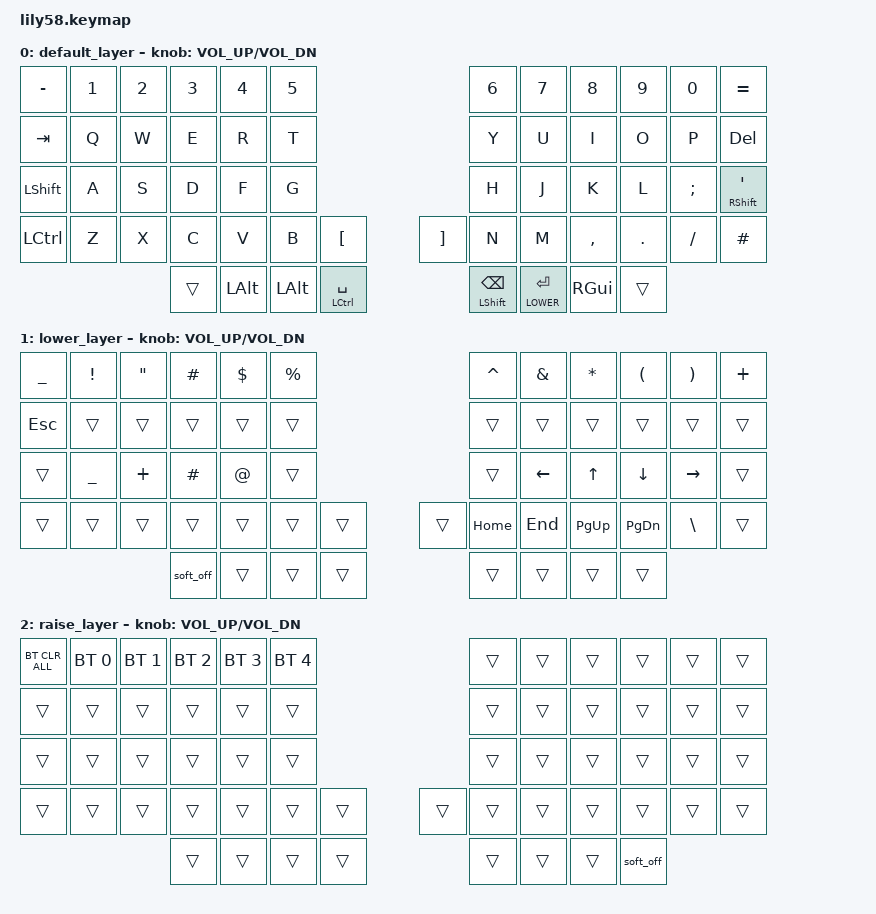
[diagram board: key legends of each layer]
/*
 * Copyright (c) 2020 The ZMK Contributors
 *
 * SPDX-License-Identifier: MIT
 */ 

#include <behaviors.dtsi>
#include <dt-bindings/zmk/keys.h>
#include <dt-bindings/zmk/bt.h>
#include <dt-bindings/zmk/ext_power.h>
#include <dt-bindings/zmk/mouse.h>

#define DEFAULT 0
#define LOWER   1
#define RAISE   2


&mt {
    tapping-term-ms = <180>;
    flavor = "tap-preferred";
    quick-tap-ms = <110>;
    global-quick-tap;
};

&lt {
    tapping-term-ms = <180>;
    flavor = "tap-preferred";
    quick-tap-ms = <110>;
};

&soft_off {
    hold-time-ms = <3000>; // Only turn off if the key is held for 3 seconds or longer.
};

/ {
    keymap {
        compatible = "zmk,keymap";

      default_layer {
// ------------------------------------------------------------------------------------------------------------
// |  -    |  1  |  2  |  3   |  4   |  5   |                             |  6   |  7    |  8    |  9   |   0   |   =   |
// |  TAB  |  Q  |  W  |  E   |  R   |  T   |                             |  Y   |  U    |  I    |  O   |   P   |   -   |
// | SHIFT |  A  |  S  |  D   |  F   |  G   |                             |  H   |  J    |  K    |  L   |   ;   |   ' / shift  |
// | CTRL  |  Z  |  X  |  C   |  V   |  B   |   "["  |            |  "]"  |  N   |  M    |  ,    |  .   |   /   | # |
//                     | TRANS| ALT  | ALT | LCTL/SPACE |  | BSPC/SHFT | LOWER/ENTER| GUI   | TRANS |
            bindings = <
&kp MINUS   &kp N1 &kp N2 &kp N3   &kp N4   &kp N5                                          &kp N6     &kp N7    &kp N8     &kp N9   &kp N0    &kp EQUAL
&kp TAB     &kp Q  &kp W  &kp E    &kp R    &kp T                                           &kp Y      &kp U     &kp I      &kp O    &kp P     &kp DEL
&kp LSHFT   &kp A  &kp S  &kp D    &kp F    &kp G                                           &kp H      &kp J     &kp K      &kp L    &kp SEMI  &mt RSHIFT SQT
&kp LCTL    &kp Z  &kp X  &kp C    &kp V    &kp B      &kp LBKT             &kp RBKT        &kp N      &kp M     &kp COMMA  &kp DOT  &kp FSLH  &kp HASH
                          &trans   &kp LALT &kp LALT   &mt LCTL SPACE       &mt LSHFT BSPC  &lt LOWER ENTER  &kp RGUI   &trans
            >;

            sensor-bindings = <&inc_dec_kp C_VOL_UP C_VOL_DN>;
        };

        lower_layer {
// ---------ALLLL WRONG LABELS---------------------------------------------------------------------------------------------------
// | BTCLR | BT1 | BT2 |  BT3 |  BT4 |  BT5 |                   |      |       |       |      |       |       |
// |       |   1 |  2  |   3  |   4  |   5  |                   |   6  |   7   |   8   |   9  |   0   |       |
// |       |  -  |  =  |  #   |      |      |                   |      | LEFT  | UP    | DOWN | RIGHT |       |
// |       |     |     |      |      |      |        |  |       | HOME | END   | PGUP  | PGDN |   \   |       |
//                     |      |      |      |        |  |       |      |       |       |
            bindings = <
&kp UNDER  &kp EXCL          &kp DQT           &kp POUND         &kp DLLR     &kp PRCNT                       &kp CARET      &kp AMPS        &kp STAR    &kp LPAR     &kp RPAR  &kp PLUS
&kp ESC    &trans            &trans            &trans            &trans       &trans                          &trans         &trans          &trans      &trans       &trans    &trans
&trans     &kp UNDER         &kp PLUS          &kp HASH          &kp AT       &trans                          &trans         &kp LEFT        &kp UP      &kp DOWN     &kp RIGHT &trans
&trans     &trans            &trans            &trans            &trans       &trans    &trans     &trans     &kp HOME       &kp END         &kp PG_UP   &kp PG_DN    &kp BSLH  &trans 
                                               &soft_off            &trans       &trans    &trans     &trans     &trans         &trans          &trans
            >;

            sensor-bindings = <&inc_dec_kp C_VOL_UP C_VOL_DN>;
        };

        raise_layer {
// -----------all totally wrong labels here, fwiw-------------------------------------------------------------------------------------------------
// |       |     |     |      |      |     |                   |      |       |       |      |       |       |
// |   `   |  1  |  2  |  3   |  4   |  5   |                   |  6   |   7   |   8   |  9   |   0   |       |
// |   F1  |  F2 |  F3 |  F4  |  F5  |  F6  |                   |      |   <-  |   v   |  ^   |  ->   |       |
// |   F7  |  F8 |  F9 |  F10 |  F11 |  F12 |        |  |       |  +   |   -   |   =   |  [   |   ]   |   \   |
//                     |      |      |      |        |  |       |      |       |       |
            bindings = <
&bt BT_CLR_ALL  &bt BT_SEL 0      &bt BT_SEL 1       &bt BT_SEL 2       &bt BT_SEL 3  &bt BT_SEL 4                      &trans      &trans    &trans     &trans     &trans     &trans
&trans          &trans            &trans             &trans             &trans        &trans                            &trans      &trans    &trans     &trans     &trans     &trans
&trans          &trans            &trans             &trans             &trans        &trans                            &trans      &trans    &trans     &trans     &trans     &trans
&trans          &trans            &trans             &trans             &trans        &trans    &trans        &trans    &trans      &trans    &trans     &trans     &trans     &trans 
                                                                      &trans  &trans  &trans    &trans        &trans    &trans      &trans    &soft_off
            >;

            sensor-bindings = <&inc_dec_kp C_VOL_UP C_VOL_DN>;
        };
    };
};
